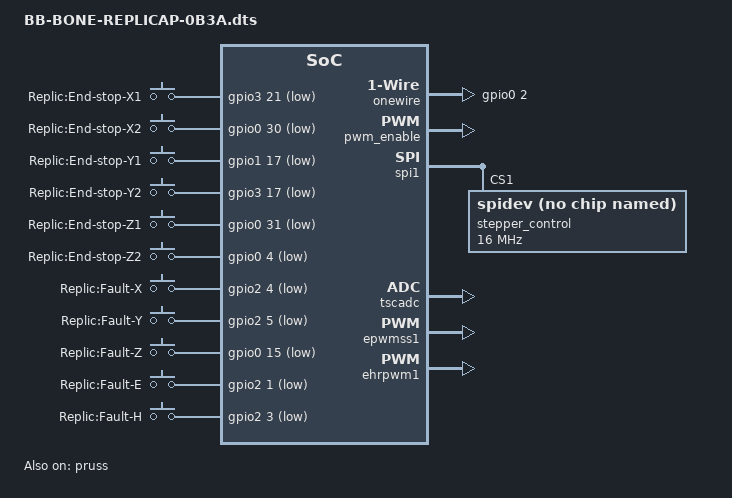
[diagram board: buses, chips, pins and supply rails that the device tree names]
/*
 * Copyright (C) 2013 Intelligent Agent AS	<elias@iagent.no>
 *
 * This program is free software; you can redistribute it and/or modify
 * it under the terms of the GNU General Public License version 2 as
 * published by the Free Software Foundation.
 */

/dts-v1/;
/plugin/;

/ {
	compatible = "ti,beaglebone", "ti,beaglebone-black";

	/* identification */
	part-number = "BB-BONE-REPLICAP";
	version = "0B3A";

	/* state the resources this cape uses */
	exclusive-use =
		/* the pin header P8 uses */
		"P8.8",  /* FAULT_EXT_2	*/
		"P8.9",  /* FAULT_Y 	*/
		"P8.10", /* FAULT_X 	*/
		"P8.11", /* STEP_H	*/
		"P8.12", /* STEP_Y      */
		"P8.13", /* STEP_Z      */
		"P8.14", /* DIR_Z       */
		"P8.15", /* DIR_E 	*/
		"P8.16", /* DIR_H 	*/
		"P8.17", /* STEP_X      */
		"P8.18", /* FAULT_E	*/
		"P8.19", /* DIR_Y       */
		"P8.26", /* DIR_X       */
		/* the pin header P9 uses */
		"P9.11", /* END_STOP_X2	*/
		"P9.12", /* STEP_E 	*/
		"P9.13", /* END_STOP_Z1	*/
		"P9.16", /* SERVO_0     */
		"P9.18", /* SERVO_1	*/
		"P9.22", /* Dallas 1W   */
		"P9.23", /* END_STOP_Y1 */
		"P9.24", /* FAULT_Z     */
		"P9.25", /* END_STOP_X1	*/
		"P9.28", /* END_STOP_Y2	*/
		"P9.30", /* SPI1_MOSI	*/
		"P9.31", /* SPI1_SCLK	*/
		"P9.33", /* AIN4        */
		"P9.35", /* AIN6        */
		"P9.36", /* AIN5        */
		"P9.41", /* ENABLE_PWM  */
		"P9.42"; /* SPI1_CS1	*/

	/*
	 * Free up the pins used by the cape from the pinmux helpers.
	 */
	fragment@0 {
		target = <&ocp>;
		__overlay__ {
			P9_31_pinmux { status = "disabled"; };	/* P9_31: = mcasp0_aclkx.spi1_sclk		 , OUTPUT_PULLUP | MODE3 */
			P9_29_pinmux { status = "disabled"; };	/* P9_29: = mcasp0_fsx.spi1_d0			 , INPUT_PULLUP  | MODE3 */
			P9_30_pinmux { status = "disabled"; };	/* P9_30: = mcasp0_axr0.spi1_d1			 , OUTPUT_PULLUP | MODE3 */
			P9_42_pinmux { status = "disabled"; };	/* P9_42: = GPIO0_7 = eCAP0_in_PWM0_out.gpio0[7] , OUTPUT_PULLUP | MODE2 */

			P8_16_pinmux { status = "disabled"; };	/* P8_16: (3)  = DIR_H		= GPIO1_14 */
			P8_15_pinmux { status = "disabled"; };	/* P8_15: (4)  = DIR_E		= GPIO1_15 */
			P8_14_pinmux { status = "disabled"; };	/* P8_14: (5)  = DIR_Z		= GPIO0_26 */
			P8_17_pinmux { status = "disabled"; };	/* P8_17: (6)  = STEP_X		= GPIO0_27 */
			P8_11_pinmux { status = "disabled"; };	/* P8_11: (22) = step_H		= GPIO1_13 */
			P8_12_pinmux { status = "disabled"; };	/* P8_12: (23) = Step_y		= GPIO1_12 */
			P8_13_pinmux { status = "disabled"; };	/* P8_13: (24) = Step_z		= GPIO0_23 */
			P8_19_pinmux { status = "disabled"; };	/* P8_19: (25) = Dir_y		= GPIO0_22 */
			P8_26_pinmux { status = "disabled"; };	/* P8_26:      = Dir_x		= GPIO1_29 */
			P9_12_pinmux { status = "disabled"; };	/* P9_12:      = step E		= GPIO1_28 */

			P8_08_pinmux { status = "disabled"; };	/* P8_08: = FAULT H = GPIO2_3 */
			P8_09_pinmux { status = "disabled"; };	/* P8_09: = FAYLT Y = GPIO2_5 */
			P8_10_pinmux { status = "disabled"; };	/* P8_10: = FAULT X = GPIO2_4 */
			P8_18_pinmux { status = "disabled"; };	/* P8_18: = FAULT E = GPIO2_1 */
			P9_24_pinmux { status = "disabled"; };	/* P9_24: = FAULT Z = GPIO0_15 */

			P9_25_pinmux { status = "disabled"; };	/* P9_25: = End stop X1 = GPIO3_21 */
			P9_11_pinmux { status = "disabled"; };	/* P9_11: = End stop X2 = GPIO0_30 */
			P9_23_pinmux { status = "disabled"; };	/* P9_23: = End stop Y1 = GPIO1_17 */
			P9_13_pinmux { status = "disabled"; };	/* P9_13: = End stop Z1 = GPIO0_31 */
			P9_18_pinmux { status = "disabled"; };	/* P9_18: = End stop Z2 = GPIO0_4 */
			P9_28_pinmux { status = "disabled"; };	/* P9_28: = End stop Y2 = GPIO3_17 */

			P9_22_pinmux { status = "disabled"; };	/* P9_22: Dallas 1W */

			P9_14_pinmux { status = "disabled"; };	/* P9_14: = Servo 0 = GPIO1_18 */
			P9_16_pinmux { status = "disabled"; };	/* P9_16: = Servo 1 = GPIO1_19 */
		};
	};

	fragment@1 {
		target = <&am33xx_pinmux>;
		__overlay__ {
			bone_replicape_spi1_pins: pinmux_replicape_spi1_pins {
				pinctrl-single,pins = <
					0x190 0x13	/* P9_31: = mcasp0_aclkx.spi1_sclk		 , OUTPUT_PULLUP | MODE3 */
					0x194 0x33	/* P9_29: = mcasp0_fsx.spi1_d0			 , INPUT_PULLUP  | MODE3 */
					0x198 0x13	/* P9_30: = mcasp0_axr0.spi1_d1			 , OUTPUT_PULLUP | MODE3 */
					0x164 0x12	/* P9_42: = GPIO0_7 = eCAP0_in_PWM0_out.gpio0[7] , OUTPUT_PULLUP | MODE2 */
				>;
			};

			pruicss_stepper_pins: pinmux_pruicss_stepper_pins{
				pinctrl-single,pins = <
					0x038 0x07	/* P8_16: (3)  = DIR_H		= GPIO1_14 */
					0x03C 0x07	/* P8_15: (4)  = DIR_E		= GPIO1_15 */
					0x028 0x07	/* P8_14: (5)  = DIR_Z		= GPIO0_26 */
					0x02C 0x07	/* P8_17: (6)  = STEP_X		= GPIO0_27 */
					0x034 0x07	/* P8_11: (22) = step_H		= GPIO1_13 */
					0x030 0x07	/* P8_12: (23) = Step_y		= GPIO1_12 */
					0x024 0x07	/* P8_13: (24) = Step_z		= GPIO0_23 */
					0x020 0x07	/* P8_19: (25) = Dir_y		= GPIO0_22 */
					0x07C 0x07	/* P8_26:      = Dir_x		= GPIO1_29 */
					0x078 0x07	/* P9_12:      = step E		= GPIO1_28 */
				>;
			};

			stepper_fault_pins: pinmux_stepper_fault_pins{
				pinctrl-single,pins = <
					0x094 0x37	/* P8_08: = FAULT H = GPIO2_3 */
					0x09C 0x37	/* P8_09: = FAYLT Y = GPIO2_5 */
					0x098 0x37	/* P8_10: = FAULT X = GPIO2_4 */
					0x08C 0x37	/* P8_18: = FAULT E = GPIO2_1 */
					0x184 0x37	/* P9_24: = FAULT Z = GPIO0_15 */
				>;
			};

			end_stop_pins: pinmux_end_stop_pins {
				pinctrl-single,pins = <
					0x1AC 0x37	/* P9_25: = End stop X1 = GPIO3_21 */
					0x070 0x37	/* P9_11: = End stop X2 = GPIO0_30 */
					0x044 0x37	/* P9_23: = End stop Y1 = GPIO1_17 */
					0x074 0x37	/* P9_13: = End stop Z1 = GPIO0_31 */
					0x158 0x37	/* P9_18: = End stop Z2 = GPIO0_4 */
					0x19C 0x37	/* P9_28: = End stop Y2 = GPIO3_17 */
				>;
			};

			dallas_w1_pins: pinmux_dallas_w1_pins {
				pinctrl-single,pins = <
					0x150 0x37	/* P9_22: Dallas 1W */
				>;
			};

			servo_pins: pinmux_servo_pins {
				pinctrl-single,pins = <
					0x048 0x36	/* P9_14: = Servo 0 = GPIO1_18 */
					0x04C 0x36	/* P9_16: = Servo 1 = GPIO1_19 */
				>;
			};
		};
	};

	fragment@2 {
		target = <&spi1>;
		__overlay__ {
			#address-cells	= <1>;
			#size-cells	= <0>;
			status		= "okay";
			pinctrl-names	= "default";
			pinctrl-0	= <&bone_replicape_spi1_pins>;
			cs-gpios	= <&gpio0 7 0>;

			stepper_control@1 {
				#address-cells	  = <1>;
				#size-cells	  = <0>;
				compatible	  = "spidev";
				reg		  = <1>;
				spi-max-frequency = <16000000>;
			};
		};
	};

	fragment@3 {
		target = <&pruss>;
		__overlay__{
			status = "okay";
			pinctrl-names = "default";
			pinctrl-0 = <&pruicss_stepper_pins>;

			stepper_x {
				pin-names	= "Replic:pru-step_x", "Replic:pru-dir_x";
				gpios		= <&gpio0 27 0
						   &gpio1 29 0>;
			};

			stepper_y {
				pin-names	= "Replic:pru-step_y", "Replic:pru-dir_y";
				gpios		= <&gpio1 12 0
						   &gpio0 22 0>;
			};

			stepper_z {
				pin-names	= "Replic:pru-step_z", "Replic:pru-dir_z";
				gpios		= <&gpio0 23 0
						   &gpio0 26 0>;
			};

			stepper_ext_1 {
				pin-names	= "Replic:pru-step_ext_1", "Replic:pru-dir_ext_1";
				gpios		= <&gpio1 28 0
						   &gpio1 15 0>;
			};

			stepper_ext_2 {
				pin-names	= "Replic:pru-step_ext_2", "Replic:pru-dir_ext_2";
				gpios		= <&gpio1 13 0
						   &gpio1 14 0>;
			};
		};
	};

	fragment@4 {
		target = <&ocp>;
		__overlay__ {

			gpio_keys {
				compatible = "gpio-keys";
				pinctrl-names = "default";
				pinctrl-0 = <&end_stop_pins>;
				pinctrl-1 = <&stepper_fault_pins>;

				switch_x1 {
					label               = "Replic:End-stop-X1";
					debounce_interval   = <5>;
					linux,code          = <112>;
					gpios               = <&gpio3 21 0x5>;
					gpio-key,wakeup;
					linux,can-disable;
				};

				switch_x2 {
					label               = "Replic:End-stop-X2";
					debounce_interval   = <5>;
					linux,code          = <113>;
					gpios               = <&gpio0 30 0x5>;
					gpio-key,wakeup;
					linux,can-disable;
				};

				switch_y1 {
					label               = "Replic:End-stop-Y1";
					debounce_interval   = <5>;
					linux,code          = <114>;
					gpios               = <&gpio1 17 0x5>;
					gpio-key,wakeup;
					linux,can-disable;
				};

				switch_y2 {
					label               = "Replic:End-stop-Y2";
					debounce_interval   = <5>;
					linux,code          = <115>;
					gpios               = <&gpio3 17 0x5>;
					gpio-key,wakeup;
					linux,can-disable;
				};

				switch_z1 {
					label               = "Replic:End-stop-Z1";
					debounce_interval   = <5>;
					linux,code          = <116>;
					gpios               = <&gpio0 31 0x5>;
					gpio-key,wakeup;
					linux,can-disable;
				};

				switch_z2 {
					label               = "Replic:End-stop-Z2";
					debounce_interval   = <50>;
					linux,code          = <117>;
					gpios               = <&gpio0 4 0x5>;
					gpio-key,wakeup;
					linux,can-disable;
				};

				fault_x {
					label               = "Replic:Fault-X";
					debounce_interval   = <50>;
					linux,code          = <90>;
					gpios               = <&gpio2 4 0x5>;
					gpio-key,wakeup;
				};

				fault_y {
					label               = "Replic:Fault-Y";
					debounce_interval   = <50>;
					linux,code          = <91>;
					gpios               = <&gpio2 5 0x5>;
					gpio-key,wakeup;
				};

				fault_z {
					label               = "Replic:Fault-Z";
					debounce_interval   = <50>;
					linux,code          = <92>;
					gpios               = <&gpio0 15 0x5>;
					gpio-key,wakeup;
				};

				fault_e {
					label               = "Replic:Fault-E";
					debounce_interval   = <50>;
					linux,code          = <93>;
					gpios               = <&gpio2 1 0x5>;
					gpio-key,wakeup;
				};

				fault_h {
					label               = "Replic:Fault-H";
					debounce_interval   = <50>;
					linux,code          = <94>;
					gpios               = <&gpio2 3 0x5>;
					gpio-key,wakeup;
				};
			};

			onewire {
				compatible      = "w1-gpio";
				pinctrl-names   = "default";
				pinctrl-0       = <&dallas_w1_pins>;
				status          = "okay";
				gpios           = <&gpio0 2 0>;
			};

			pwm_enable {
				compatible      = "bone-pinmux-helper";
				status 	        = "okay";
				pinctrl-names   = "default";
				pinctrl-0       = <&servo_pins>;
				/*pinctrl-0       = <&clkout2_pins>;*/
			};
		};
	};

	fragment@5 {
		target = <&tscadc>;
		__overlay__ {
			status = "okay";
			adc {
				ti,adc-channels = <4 5 6 7>;
			};
		};
	};

	fragment@6 {
		target = <&epwmss1>;
		__overlay__ {
			status = "okay";
		};
	};

	fragment@7 {
		target = <&ehrpwm1>;
		__overlay__ {
			status = "okay";
		};
	};
};
